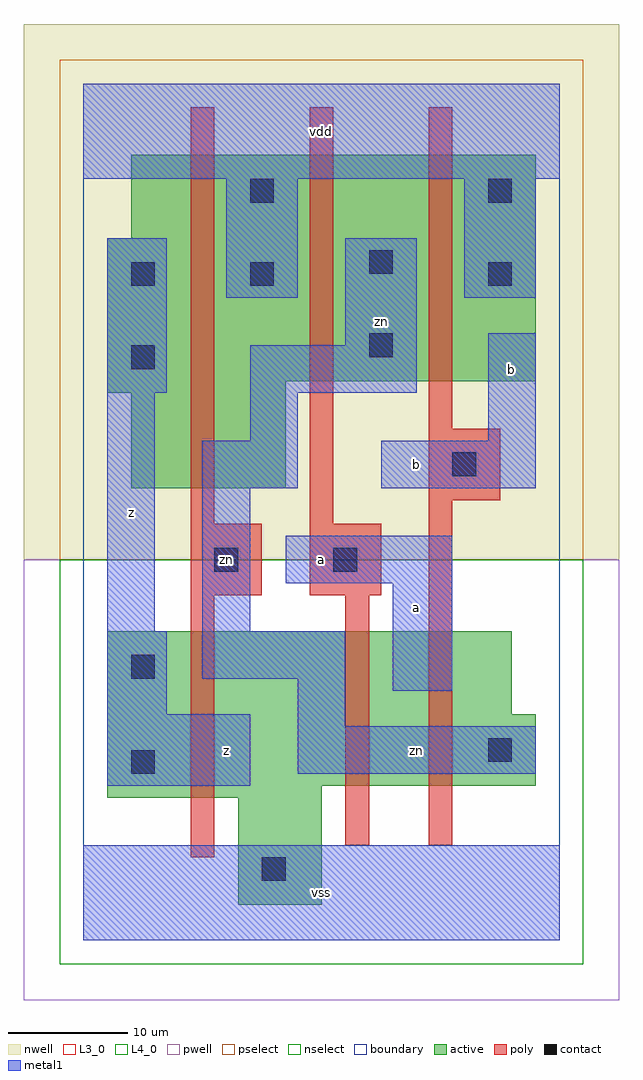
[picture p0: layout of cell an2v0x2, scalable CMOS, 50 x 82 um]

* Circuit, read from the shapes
.subckt an2v0x2 a b vdd vss z zn
M1 vss zn z VSUBS nfet w=14u l=2u
M2 n1 a vss VSUBS nfet w=13u l=2u
M3 zn b n1 VSUBS nfet w=13u l=2u
M4 vdd zn z n2 pfet w=28u l=2u
M5 zn a vdd n2 pfet w=19u l=2u
M6 vdd b zn n2 pfet w=19u l=2u
.ends

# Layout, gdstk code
import gdstk
lib = gdstk.Library(unit=1e-6, precision=1e-09)
def R(c, l, rs):  # rectangles x0, y0, x1, y1
    for r in rs: c.add(gdstk.rectangle(r[:2], r[2:], *l))
L3_0 = (3, 0)
L4_0 = (4, 0)
contact = (25, 0)
pwell = (41, 0)
nwell = (42, 0)
active = (43, 0)
pselect = (44, 0)
nselect = (45, 0)
poly = (46, 0)
metal1 = (49, 0)
boundary = (63, 0)

an2v0x2 = lib.new_cell('an2v0x2')
R(an2v0x2, L3_0, [(13,3,20,12), (2,12,20,13), (2,13,38,19), (2,19,36,26)])
R(an2v0x2, L4_0, [(4,38,17,46), (2,46,17,47), (2,47,38,59), (4,59,38,66)])
R(an2v0x2, contact, [(15,5,17,7), (4,14,6,16), (34,15,36,17), (4,22,6,24), (11,31,13,33), (21,31,23,33), (31,39,33,41), (4,48,6,50), (24,49,26,51), (4,55,6,57), (14,55,16,57), (34,55,36,57), (24,56,26,58), (14,62,16,64), (34,62,36,64)])
R(an2v0x2, pwell, [(-5,-5,45,32)])
R(an2v0x2, nwell, [(-5,32,45,77)])
R(an2v0x2, active, [(13,3,20,12), (2,12,20,13), (2,13,38,19), (2,19,36,26), (4,38,17,46), (2,46,17,47), (2,47,38,59), (4,59,38,66)])
R(an2v0x2, pselect, [(-2,32,42,74)])
R(an2v0x2, nselect, [(-2,-2,42,32)])
R(an2v0x2, poly, [(9,7,11,29), (22,8,24,29), (29,8,31,37), (9,29,15,35), (19,29,25,35), (9,35,11,70), (19,35,21,70), (29,37,35,43), (29,43,31,70)])
R(an2v0x2, metal1, [(0,0,40,8), (2,13,14,19), (18,14,38,18), (18,18,22,22), (2,19,7,26), (26,21,31,30), (10,22,22,26), (2,26,6,46), (10,26,14,38), (17,30,31,34), (10,38,18,42), (25,38,38,42), (14,42,18,46), (34,42,38,51), (2,46,7,59), (14,46,28,50), (22,50,28,59), (12,54,18,64), (32,54,38,64), (0,64,40,72)])
R(an2v0x2, boundary, [(0,0,40,72)])
an2v0x2.add(gdstk.Label('zn', (12,32), layer=49, texttype=0))
an2v0x2.add(gdstk.Label('zn', (28,16), layer=49, texttype=0))
an2v0x2.add(gdstk.Label('zn', (25,52), layer=49, texttype=0))
an2v0x2.add(gdstk.Label('z', (4,36), layer=49, texttype=0))
an2v0x2.add(gdstk.Label('z', (12,16), layer=49, texttype=0))
an2v0x2.add(gdstk.Label('vss', (20,4), layer=49, texttype=0))
an2v0x2.add(gdstk.Label('a', (20,32), layer=49, texttype=0))
an2v0x2.add(gdstk.Label('a', (28,28), layer=49, texttype=0))
an2v0x2.add(gdstk.Label('b', (28,40), layer=49, texttype=0))
an2v0x2.add(gdstk.Label('vdd', (20,68), layer=49, texttype=0))
an2v0x2.add(gdstk.Label('b', (36,48), layer=49, texttype=0))

lib.write_gds('an2v0x2.gds')
